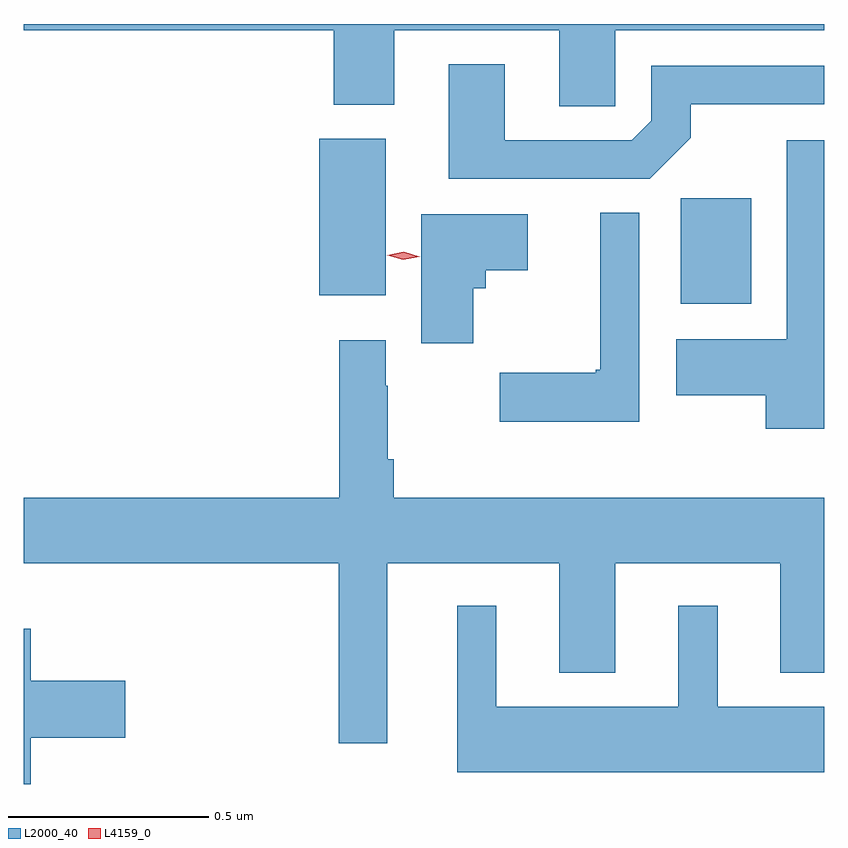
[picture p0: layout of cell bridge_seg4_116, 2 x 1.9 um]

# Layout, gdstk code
import gdstk
lib = gdstk.Library(unit=1e-6, precision=1e-09)
def R(c, l, rs):  # rectangles x0, y0, x1, y1
    for r in rs: c.add(gdstk.rectangle(r[:2], r[2:], *l))
def P(c, l, *ps):  # polygons
    for p in ps: c.add(gdstk.Polygon(p, *l))
L2000_40 = (2000, 40)
L4159_0 = (4159, 0)

bridge_seg4_116 = lib.new_cell('bridge_seg4_116')
R(bridge_seg4_116, L2000_40, [(359.816,832.1,359.992,832.364), (358.913,832.121,359.08,832.512)])
P(bridge_seg4_116, L2000_40, [(358.175,832.784),(358.949,832.784),(358.949,832.597),(359.101,832.597),(359.101,832.784),(359.513,832.784),(359.513,832.594),(359.652,832.594),(359.652,832.784),(360.175,832.784),(360.175,832.799),(358.175,832.799)],
  [(359.841,832.515),(359.841,832.599),(360.175,832.599),(360.175,832.695),(359.742,832.695),(359.742,832.557),(359.694,832.509),(359.377,832.509),(359.377,832.699),(359.237,832.699),(359.237,832.413),(359.739,832.413)],
  [(360.175,832.509),(360.081,832.509),(360.081,832.012),(359.805,832.012),(359.805,831.872),(360.028,831.872),(360.028,831.788),(360.175,831.788)],
  [(359.712,832.328),(359.615,832.328),(359.615,831.936),(359.604,831.936),(359.604,831.928),(359.364,831.928),(359.364,831.806),(359.712,831.806)],
  [(359.298,832.139),(359.329,832.139),(359.329,832.184),(359.434,832.184),(359.434,832.324),(359.168,832.324),(359.168,832.002),(359.298,832.002)],
  [(359.083,831.452),(359.513,831.452),(359.513,831.179),(359.653,831.179),(359.653,831.452),(360.065,831.452),(360.065,831.179),(360.175,831.179),(360.175,831.616),(359.099,831.616),(359.099,831.712),(359.084,831.712),(359.084,831.896),(359.079,831.896),(359.079,832.009),(358.963,832.009),(358.963,831.616),(358.175,831.616),(358.175,831.452),(358.962,831.452),(358.962,831.003),(359.083,831.003)],
  [(360.175,831.094),(359.908,831.094),(359.908,831.346),(359.81,831.346),(359.81,831.094),(359.356,831.094),(359.356,831.346),(359.258,831.346),(359.258,830.93),(360.175,830.93)],
  [(358.193,831.017),(358.429,831.017),(358.429,831.159),(358.193,831.159),(358.193,831.289),(358.175,831.289),(358.175,830.901),(358.193,830.901)])
P(bridge_seg4_116, L4159_0, [(359.123,832.21),(359.083,832.221),(359.083,832.221),(359.083,832.221),(359.124,832.23),(359.164,832.218),(359.165,832.218),(359.164,832.218)])

lib.write_gds('bridge_seg4_116.gds')
